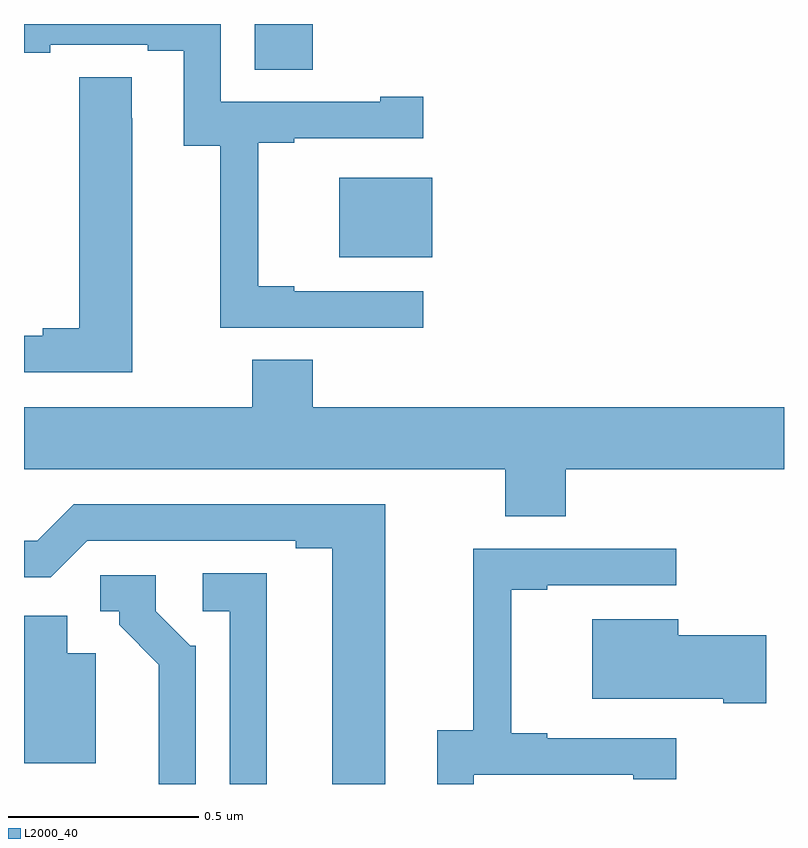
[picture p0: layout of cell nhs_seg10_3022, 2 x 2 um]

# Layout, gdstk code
import gdstk
lib = gdstk.Library(unit=1e-6, precision=1e-09)
def R(c, l, rs):  # rectangles x0, y0, x1, y1
    for r in rs: c.add(gdstk.rectangle(r[:2], r[2:], *l))
def P(c, l, *ps):  # polygons
    for p in ps: c.add(gdstk.Polygon(p, *l))
L2000_40 = (2000, 40)

nhs_seg10_3022 = lib.new_cell('nhs_seg10_3022')
R(nhs_seg10_3022, L2000_40, [(148.829,1288.886,149.074,1289.095), (148.607,1289.38,148.76,1289.5)])
P(nhs_seg10_3022, L2000_40, [(149.05,1288.797),(148.711,1288.797),(148.711,1288.81),(148.616,1288.81),(148.616,1289.187),(148.711,1289.187),(148.711,1289.199),(149.05,1289.199),(149.05,1289.308),(148.937,1289.308),(148.937,1289.295),(148.518,1289.295),(148.518,1289.5),(148,1289.5),(148,1289.425),(148.069,1289.425),(148.069,1289.445),(148.325,1289.445),(148.325,1289.43),(148.421,1289.43),(148.421,1289.179),(148.516,1289.179),(148.516,1288.701),(149.05,1288.701)],
  [(148.285,1289.252),(148.284,1289.252),(148.284,1289.36),(148.145,1289.36),(148.145,1288.7),(148.049,1288.7),(148.049,1288.68),(148,1288.68),(148,1288.584),(148.285,1288.584)],
  [(149.426,1288.328),(150,1288.328),(150,1288.492),(148.76,1288.492),(148.76,1288.616),(148.6,1288.616),(148.6,1288.492),(148,1288.492),(148,1288.328),(149.266,1288.328),(149.266,1288.204),(149.426,1288.204)],
  [(148.95,1287.568),(148.951,1287.568),(148.951,1288.236),(148.131,1288.236),(148.035,1288.14),(148,1288.14),(148,1288.044),(148.071,1288.044),(148.167,1288.14),(148.715,1288.14),(148.715,1288.12),(148.811,1288.12),(148.811,1287.5),(148.95,1287.5)],
  [(149.184,1287.525),(149.603,1287.525),(149.603,1287.513),(149.716,1287.513),(149.716,1287.621),(149.377,1287.621),(149.377,1287.634),(149.282,1287.634),(149.282,1288.011),(149.377,1288.011),(149.377,1288.023),(149.716,1288.023),(149.716,1288.119),(149.182,1288.119),(149.182,1287.641),(149.087,1287.641),(149.087,1287.5),(149.184,1287.5)],
  [(148.639,1288.055),(148.47,1288.055),(148.47,1287.954),(148.542,1287.954),(148.542,1287.5),(148.639,1287.5)],
  [(148.452,1287.864),(148.437,1287.864),(148.347,1287.954),(148.347,1288.05),(148.2,1288.05),(148.2,1287.954),(148.25,1287.954),(148.25,1287.919),(148.355,1287.814),(148.355,1287.5),(148.452,1287.5)],
  [(148.189,1287.844),(148.114,1287.844),(148.114,1287.943),(148,1287.943),(148,1287.554),(148.189,1287.554)],
  [(149.953,1287.891),(149.722,1287.891),(149.722,1287.934),(149.495,1287.934),(149.495,1287.725),(149.84,1287.725),(149.84,1287.713),(149.953,1287.713)])

lib.write_gds('nhs_seg10_3022.gds')
